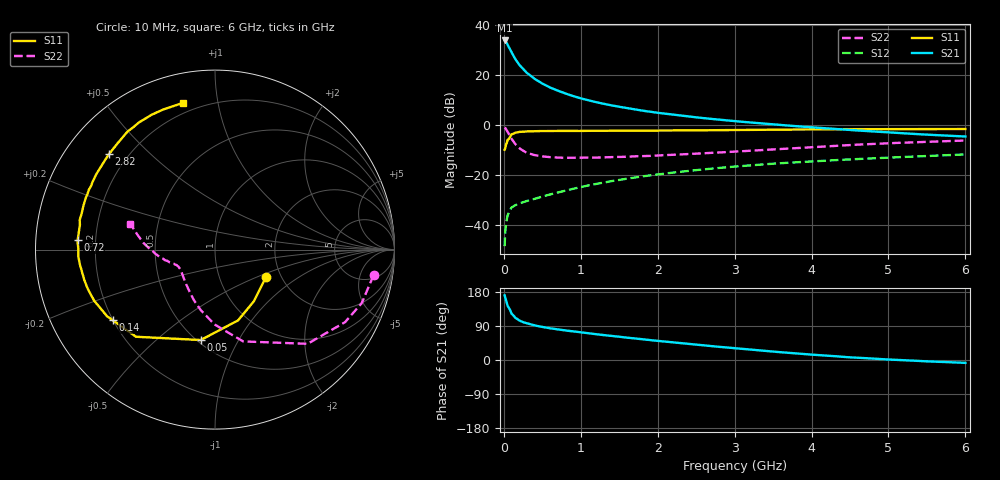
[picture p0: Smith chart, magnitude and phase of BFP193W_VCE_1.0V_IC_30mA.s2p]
! Infineon Technologies  Discrete & RF Semiconductors
! BFP193W
! VCE = 1.0 V,  IC =  30 mA
! Common Emitter S-Parameters:  Jan 2016
# GHz  S  MA  R  50
!  f  S11  S21  S12  S22
! GHz  MAG  ANG  MAG  ANG  MAG  ANG  MAG  ANG
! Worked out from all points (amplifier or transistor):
!   210 points, 10 MHz to 6 GHz, reference 50 ohm
!   highest |S21| = 33.9 dB at 10 MHz (marker M1)
!   |S21| within 3 dB of that: start of sweep to 70.56 MHz
!   unconditionally stable (mu >= 1): 625.8 MHz to end of sweep
!   at 185 MHz: K = 0.47, MSG = 28.2 dB, |S12| = -31.5 dB
!   at 1.52 GHz: K = 1.19, MAG = 11.9 dB, |S12| = -21.8 dB
!   at 6 GHz: K = 1.00, MAG = 3.3 dB, |S12| = -11.7 dB
!   S11 on the Smith chart (normalised r, x): 10 MHz: 1.67, -0.57; 50 MHz: 0.52, -0.71; 140 MHz: 0.20, -0.30; 720 MHz: 0.13, +0.03; 2.82 GHz: 0.13, +0.38; 6 GHz: 0.15, +0.79
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0.01  0.3228 -28.4  49.31 170.7  0.0038 83.6  0.8949 -9.2
0.02  0.3606 -53.2  48.14 163.3  0.0078 73.9  0.8701 -20.1
0.03  0.4149 -72.0  45.97 155.7  0.0109 69.2  0.8295 -29.2
0.05  0.5102 -99.0  40.38 142.6  0.0159 57.6  0.7359 -45.5
0.1  0.6554 -132.2  28.28 122.3  0.0226 44.2  0.5347 -73.0
0.14  0.6923 -145.3  22.14 113.9  0.0246 40.0  0.4358 -86.3
0.15  0.7068 -148.3  20.71 111.1  0.0251 39.1  0.4158 -90.6
0.2  0.7307 -157.0  16.12 104.4  0.0271 38.3  0.3479 -102.9
0.26  0.7431 -163.7  12.75 99.2  0.0291 38.7  0.3021 -113.4
0.3  0.7476 -166.9  11.04 96.5  0.0304 40.0  0.2796 -119.4
0.4  0.7568 -173.1  8.4 91.1  0.0334 42.7  0.2513 -129.7
0.5  0.7627 -177.2  6.769 87.1  0.0373 46.4  0.2373 -136.9
0.6  0.7615 179.5  5.656 83.7  0.041 48.7  0.2292 -142.3
0.72  0.7671 176.0  4.77 80.2  0.0457 51.7  0.2238 -146.5
1.02  0.7664 169.2  3.37 72.5  0.0586 55.6  0.2233 -153.2
1.4  0.7726 161.9  2.483 63.5  0.0759 57.2  0.2301 -157.4
2.02  0.7795 150.9  1.75 50.1  0.1043 56.3  0.2483 -161.6
2.82  0.7947 138.1  1.275 34.4  0.1404 51.8  0.2853 -168.2
3.1  0.8009 133.8  1.165 29.4  0.1525 49.8  0.3008 -171.1
4.1  0.8257 119.8  0.883 12.9  0.1922 42.4  0.3697 178.5
5.1  0.832 109.6  0.7 0.4  0.2274 35.3  0.4403 169.1
6  0.8365 102.3  0.592 -7.6  0.2595 29.6  0.4923 163.0
